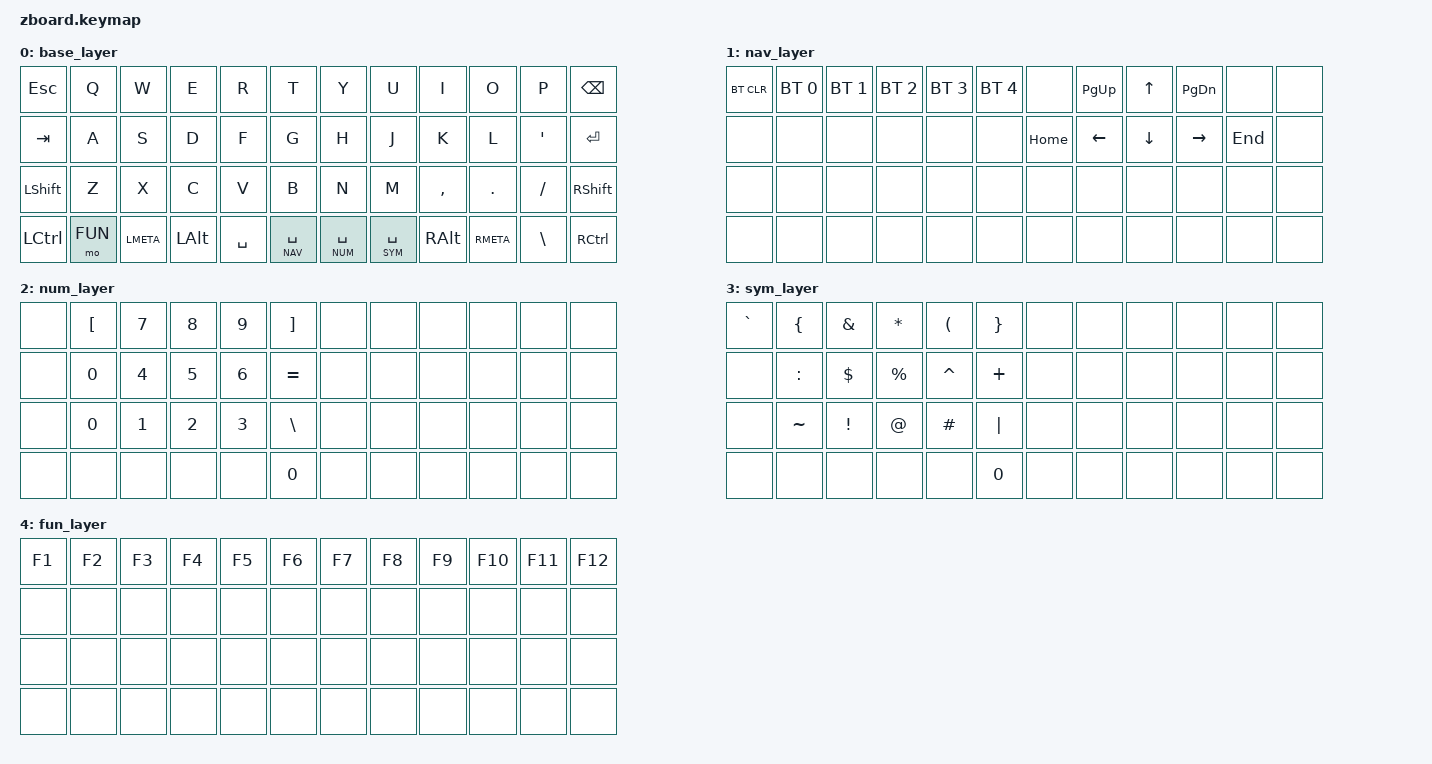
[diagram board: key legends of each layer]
/*
 * Copyright (c) 2020 The ZMK Contributors
 *
 * SPDX-License-Identifier: MIT
 */

#include <behaviors.dtsi>
#include <dt-bindings/zmk/keys.h>
#include <dt-bindings/zmk/bt.h>


/ { 
#define BASE 0
#define NAV 1
#define NUM 2
#define SYM 3
#define FUN 4

combos {
    compatible = "zmk,combos";
    combo_caps {
        layers = <0>;
        timeout-ms = <50>;
        key-positions = <17 20>;
        bindings = <&caps_word>;
    };
     
};
        keymap {
                compatible = "zmk,keymap";
                
       		base_layer {
		bindings = <
		&kp ESC   &kp Q      &kp W       &kp E       &kp R      &kp T          &kp Y         &kp U         &kp I         &kp O        &kp P    &kp BSPC 
		&kp TAB   &kp A      &kp S       &kp D       &kp F      &kp G          &kp H         &kp J         &kp K         &kp L        &kp SQT  &kp RET
		&kp LSHFT &kp Z      &kp X       &kp C       &kp V      &kp B          &kp N         &kp M         &kp COMMA     &kp DOT      &kp FSLH &kp RSHFT 
		&kp LCTRL &mo FUN    &kp LMETA   &kp LALT    &kp SPACE  &lt NAV SPACE  &lt NUM SPACE &lt SYM SPACE &kp RALT     &kp RMETA     &kp BSLH &kp RCTRL  
		>;
		};
       		nav_layer {
		bindings = <
		&bt BT_CLR &bt BT_SEL 0  &bt BT_SEL 1  &bt BT_SEL 2   &bt BT_SEL 3  &bt BT_SEL 4  			        &none         &kp PG_UP     &kp UP        &kp PG_DN        &none    &none 
		&none 	   &none      &none       &none          &none      &none      			        &kp HOME      &kp LEFT      &kp DOWN      &kp RIGHT        &kp END    &none 
		&none 	   &none      &none       &none          &none      &none      			        &none         &none         &none         &none        &none    &none 
		&none 	   &none      &none       &none          &none      &none        			    &none         &none         &none         &none        &none    &none 
		>;
		};
       		num_layer {
		bindings = <
		&none 	  &kp LBKT   &kp N7       &kp N8          &kp N9      &kp RBKT   			    &none         &none         &none         &none        &none    &none 
		&none 	  &kp N0      &kp N4       &kp N5          &kp N6      &kp EQUAL      			&none         &none         &none         &none        &none    &none 
		&none 	  &kp N0      &kp N1       &kp N2          &kp N3      &kp BSLH      			&none         &none         &none         &none        &none    &none 
		&none 	  &none      &none       &none          &none      &kp N0        			&none         &none         &none         &none        &none    &none 
		>;
		};

		    sym_layer {
		bindings = <
		&kp GRAVE &kp LBRC   &kp AMPS    &kp STAR       &kp LPAR       &kp RBRC  			&none         &none         &none         &none        &none    &none 
        &none     &kp COLON  &kp DLLR    &kp PRCNT      &kp CARET      &kp PLUS       		&none         &none         &none         &none        &none    &none
        &none     &kp TILDE  &kp EXCL    &kp AT         &kp HASH       &kp PIPE				&none         &none         &none         &none        &none    &none
		&none 	  &none      &none       &none        &none      &kp 0        			&none         &none         &none         &none        &none    &none 
		>;
		};

		    fun_layer {
		bindings = <
		&kp F1      &kp F2     &kp F3     &kp F4       &kp F5      &kp F6                   &kp F7         &kp F8         &kp F9        &kp F10    &kp F11  &kp F12 
		&none 	  &none      &none       &none          &none      &none      			    &none         &none         &none         &none        &none    &none 
		&none 	  &none      &none       &none          &none      &none      			    &none         &none         &none         &none        &none    &none 
		&none 	  &none      &none       &none          &none      &none        			&none         &none         &none         &none        &none    &none 
		>;
		};
 
        
	};
};
